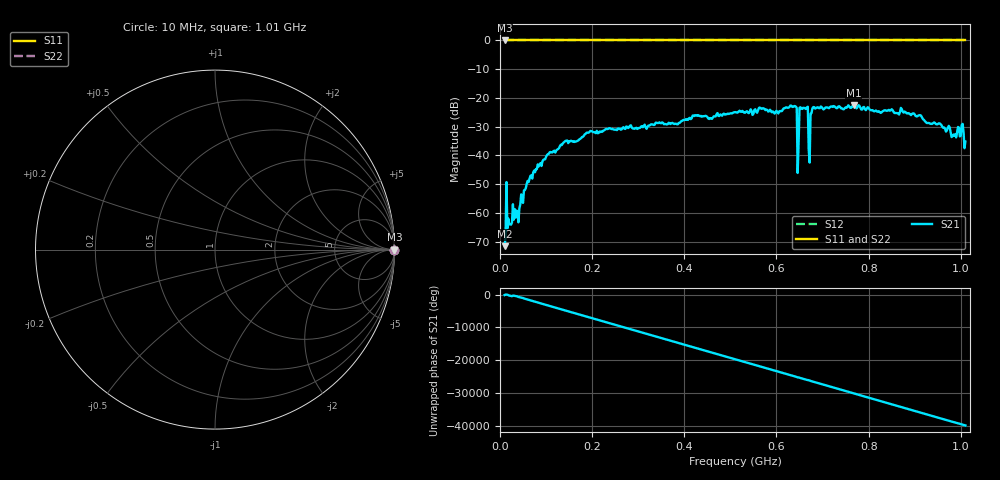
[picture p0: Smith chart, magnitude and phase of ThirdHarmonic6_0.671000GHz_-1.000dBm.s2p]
! 8/15/2025 10:20:55 PM
! C:\ANRITSUVNA\TEMP\TEMP.S2P
! CHANNEL.1
! TR.MEASUREMENT
! RAW.DATA
! RF.CORRECTION.OFF
! AVERAGING.OFF
! IF.BANDWIDTH: 5KHZ
! SWEEPTYPE:  FREQ.SWEEP(Linear)
! Reference Plane Port Info
! PORT:  PORT1  PORT2
! DISTANCE:  0  m  0  m
! TIME:  0  s  0  s
! PHASE.OFFSET:  0  deg.  0  deg.
! LOSS:  0  dB  0  dB
! REF.LOSS:  0  dB  0  dB
! REF.FREQ:  0  Hz  0  Hz
! Power Info
! POWER:  -20  dBm  -20  dBm
! EFF.POWER:  -20  dBm  -20  dBm
! SOURCE.ATTEN:  0  dB  0  dB
! TEST.ATTEN:  0  dB  0  dB
# GHZ S RI R 50.0
! FREQ.GHZ  S11RE  S11IM  S21RE  S21IM  S12RE  S12IM  S22RE  S22IM
!; PortSelection: Port_12
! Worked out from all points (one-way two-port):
!   501 points, 10 MHz to 1.01 GHz, reference 50 ohm
!   highest |S21| = -22.48 dB at 768 MHz (marker M1); lowest = -71.6 dB at 10 MHz (marker M2)
!   lowest |S11| = 0.0 dB at 10 MHz (marker M3)
!   |S11| at or under -10 dB: nowhere
!   |S22| runs from 0.0 to 0.0 dB; largest |S21 - S12| = 1.1
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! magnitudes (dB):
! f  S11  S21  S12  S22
! 10 MHz  0.0  -71.6  0.0  0.0
! 18 MHz  0.0  -62.0  0.0  0.0
! 20 MHz  0.0  -64.0  0.0  0.0
! 38 MHz  0.0  -59.9  0.0  0.0
! 56 MHz  0.0  -51.4  0.0  0.0
! 84 MHz  0.0  -43.8  0.0  0.0
! 178 MHz  0.0  -33.6  0.0  0.0
! 344 MHz  0.0  -28.7  0.0  0.0
! 510 MHz  0.0  -25.0  0.0  0.0
! 640 MHz  0.0  -22.8  0.0  0.0
! 644 MHz  0.0  -23.5  0.0  0.0
! 650 MHz  0.0  -23.5  0.0  0.0
! 654 MHz  0.0  -23.7  0.0  0.0
! 664 MHz  0.0  -23.9  0.0  0.0
! 668 MHz  0.0  -23.1  0.0  0.0
! 674 MHz  0.0  -25.5  0.0  0.0
! 678 MHz  0.0  -23.6  0.0  0.0
! 768 MHz  0.0  -22.5  0.0  0.0
! 844 MHz  0.0  -24.2  0.0  0.0
! 984 MHz  0.0  -32.8  0.0  0.0
! 1 GHz  0.0  -33.2  0.0  0.0
! 1.01 GHz  0.0  -35.2  0.0  0.0
